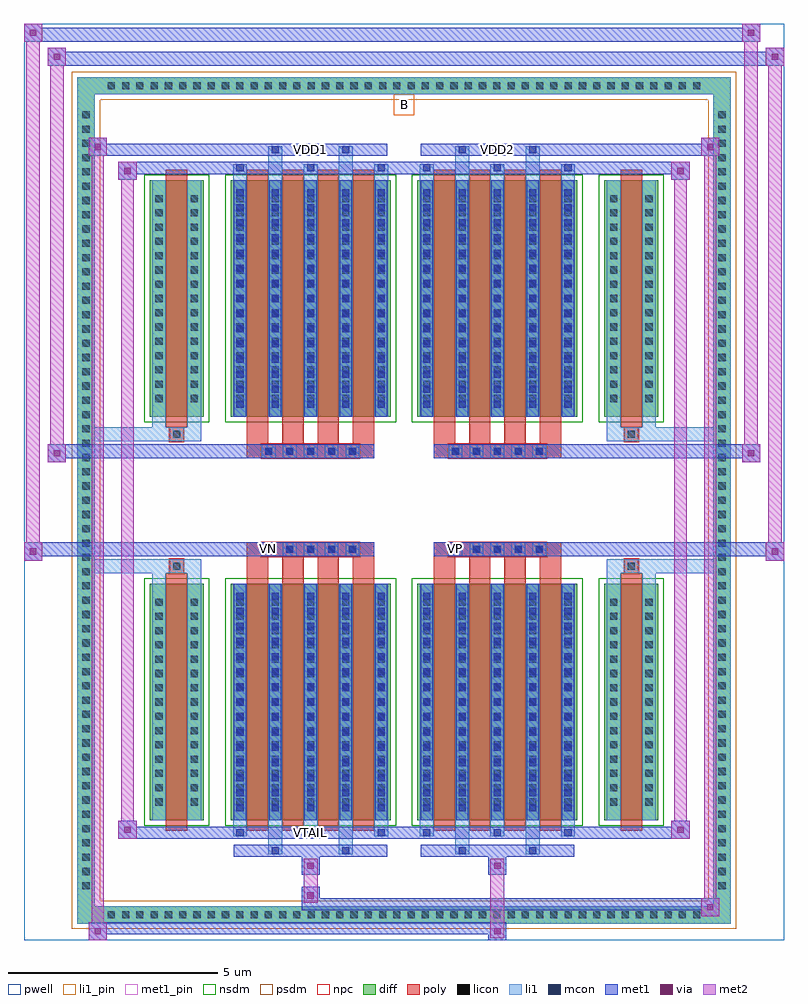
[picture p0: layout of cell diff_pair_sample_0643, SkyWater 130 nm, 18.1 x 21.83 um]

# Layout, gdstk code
import gdstk
lib = gdstk.Library(unit=1e-6, precision=5e-09)
def R(c, l, rs):  # rectangles x0, y0, x1, y1
    for r in rs: c.add(gdstk.rectangle(r[:2], r[2:], *l))
def A(c, l, x, y, w, h, nx, ny, dx, dy):  # array of equal rectangles
    R(c, l, [(x+i*dx, y+j*dy, x+i*dx+w, y+j*dy+h) for i in range(nx) for j in range(ny)])
def P(c, l, *ps):  # polygons
    for p in ps: c.add(gdstk.Polygon(p, *l))
pwell = (64, 44)
diff = (65, 20)
poly = (66, 20)
licon = (66, 44)
li1_pin = (67, 16)
li1 = (67, 20)
mcon = (67, 44)
met1_pin = (68, 16)
met1 = (68, 20)
via = (68, 44)
met2 = (69, 20)
nsdm = (93, 44)
psdm = (94, 20)
npc = (95, 20)

diff_pair_sample_0643 = lib.new_cell('diff_pair_sample_0643')
R(diff_pair_sample_0643, pwell, [(-9.05,-10.48,9.05,11.35), (-6.37,-8.67,-0.01,-0.805), (0.01,-8.67,6.37,-0.805), (-6.37,0.805,-0.01,8.67), (0.01,0.805,6.37,8.67)])
A(diff_pair_sample_0643, diff, -7.175, -10.08, 0.41, 0.41, 42, 2, 0.34, 19.75)
A(diff_pair_sample_0643, diff, -7.78, -9.385, 0.41, 0.41, 1, 55, 0, 0.34)
A(diff_pair_sample_0643, diff, 7.37, -9.385, 0.41, 0.41, 1, 55, 0, 0.34)
R(diff_pair_sample_0643, diff, [(-7.175,-10.08,7.175,-9.67), (-7.78,-9.385,-7.37,9.385), (7.37,-9.385,7.78,9.385), (-6.06,-7.625,-4.77,-1.985), (-4.13,-7.625,-0.32,-1.985), (0.32,-7.625,4.13,-1.985), (4.77,-7.625,6.06,-1.985), (-6.06,1.985,-4.77,7.625), (-4.13,1.985,-0.32,7.625), (0.32,1.985,4.13,7.625), (4.77,1.985,6.06,7.625), (-7.175,9.67,7.175,10.08)])
P(diff_pair_sample_0643, diff, [(7.78,10.08),(-7.78,10.08),(-7.78,-9.67),(-7.37,-9.67),(-7.37,9.67),(7.37,9.67),(7.37,-9.67),(-7.37,-9.67),(-7.78,-9.67),(-7.78,-10.08),(7.78,-10.08)])
A(diff_pair_sample_0643, poly, -3.74, -7.875, 0.51, 6.14, 4, 2, 0.84, 9.61)
A(diff_pair_sample_0643, poly, 0.71, -7.875, 0.51, 6.14, 4, 2, 0.84, 9.61)
A(diff_pair_sample_0643, poly, -3.74, -1.735, 0.51, 0.4, 4, 2, 0.84, 3.07)
A(diff_pair_sample_0643, poly, 0.71, -1.735, 0.51, 0.4, 4, 2, 0.84, 3.07)
A(diff_pair_sample_0643, poly, -3.39, -1.335, 0.33, 0.33, 5, 2, 0.5, 2.34)
A(diff_pair_sample_0643, poly, 1.06, -1.335, 0.33, 0.33, 5, 2, 0.5, 2.34)
R(diff_pair_sample_0643, poly, [(-5.67,-7.875,-5.16,-1.735), (5.16,-7.875,5.67,-1.735), (-5.58,-1.735,-5.25,-1.405), (-5.58,-1.735,-5.25,-1.405), (5.25,-1.735,5.58,-1.405), (5.25,-1.735,5.58,-1.405), (-3.74,-1.335,-0.71,-1.005), (0.71,-1.335,3.74,-1.005), (-3.74,1.005,-0.71,1.335), (0.71,1.005,3.74,1.335), (-5.58,1.405,-5.25,1.735), (-5.58,1.405,-5.25,1.735), (5.25,1.405,5.58,1.735), (5.25,1.405,5.58,1.735), (-5.67,1.735,-5.16,7.875), (5.16,1.735,5.67,7.875)])
A(diff_pair_sample_0643, licon, -7.055, -9.96, 0.17, 0.17, 42, 2, 0.34, 19.75)
A(diff_pair_sample_0643, licon, -7.66, -9.265, 0.17, 0.17, 1, 55, 0, 0.34)
A(diff_pair_sample_0643, licon, 7.49, -9.265, 0.17, 0.17, 1, 55, 0, 0.34)
A(diff_pair_sample_0643, licon, -5.92, -7.27, 0.17, 0.17, 1, 15, 0, 0.34)
A(diff_pair_sample_0643, licon, -5.08, -7.27, 0.17, 0.17, 1, 15, 0, 0.34)
A(diff_pair_sample_0643, licon, -3.99, -7.27, 0.17, 0.17, 5, 15, 0.84, 0.34)
A(diff_pair_sample_0643, licon, 0.46, -7.27, 0.17, 0.17, 5, 15, 0.84, 0.34)
A(diff_pair_sample_0643, licon, 4.91, -7.27, 0.17, 0.17, 1, 15, 0, 0.34)
A(diff_pair_sample_0643, licon, 5.75, -7.27, 0.17, 0.17, 1, 15, 0, 0.34)
A(diff_pair_sample_0643, licon, -3.31, -1.255, 0.17, 0.17, 5, 2, 0.5, 2.34)
A(diff_pair_sample_0643, licon, 1.14, -1.255, 0.17, 0.17, 5, 2, 0.5, 2.34)
A(diff_pair_sample_0643, licon, -5.92, 2.34, 0.17, 0.17, 1, 15, 0, 0.34)
A(diff_pair_sample_0643, licon, -5.08, 2.34, 0.17, 0.17, 1, 15, 0, 0.34)
A(diff_pair_sample_0643, licon, -3.99, 2.34, 0.17, 0.17, 5, 15, 0.84, 0.34)
A(diff_pair_sample_0643, licon, 0.46, 2.34, 0.17, 0.17, 5, 15, 0.84, 0.34)
A(diff_pair_sample_0643, licon, 4.91, 2.34, 0.17, 0.17, 1, 15, 0, 0.34)
A(diff_pair_sample_0643, licon, 5.75, 2.34, 0.17, 0.17, 1, 15, 0, 0.34)
R(diff_pair_sample_0643, licon, [(-5.5,-1.655,-5.33,-1.485), (5.33,-1.655,5.5,-1.485), (-5.5,1.485,-5.33,1.655), (5.33,1.485,5.5,1.655)])
R(diff_pair_sample_0643, li1_pin, [(-0.25,9.17,0.25,9.67)])
A(diff_pair_sample_0643, li1, -7.135, -10.04, 0.33, 0.33, 42, 2, 0.34, 19.75)
A(diff_pair_sample_0643, li1, -7.74, -9.345, 0.33, 0.33, 1, 55, 0, 0.34)
A(diff_pair_sample_0643, li1, 7.41, -9.345, 0.33, 0.33, 1, 55, 0, 0.34)
A(diff_pair_sample_0643, li1, -4.07, -8, 0.33, 0.375, 3, 2, 1.68, 15.625)
A(diff_pair_sample_0643, li1, -3.99, -8, 0.17, 0.17, 3, 2, 1.68, 15.83)
A(diff_pair_sample_0643, li1, 0.38, -8, 0.33, 0.375, 3, 2, 1.68, 15.625)
A(diff_pair_sample_0643, li1, 0.46, -8, 0.17, 0.17, 3, 2, 1.68, 15.83)
A(diff_pair_sample_0643, li1, -4.07, -7.625, 0.33, 5.64, 5, 2, 0.84, 9.61)
A(diff_pair_sample_0643, li1, 0.38, -7.625, 0.33, 5.64, 5, 2, 0.84, 9.61)
A(diff_pair_sample_0643, li1, -3.99, -7.41, 0.17, 0.17, 5, 15, 0.84, 0.36)
A(diff_pair_sample_0643, li1, -3.99, -7.41, 0.17, 5.21, 5, 2, 0.84, 9.61)
A(diff_pair_sample_0643, li1, 0.46, -7.41, 0.17, 0.17, 5, 15, 0.84, 0.36)
A(diff_pair_sample_0643, li1, 0.46, -7.41, 0.17, 5.21, 5, 2, 0.84, 9.61)
A(diff_pair_sample_0643, li1, -6, -7.35, 0.33, 0.33, 1, 15, 0, 0.34)
A(diff_pair_sample_0643, li1, -5.16, -7.35, 0.33, 0.33, 1, 15, 0, 0.34)
A(diff_pair_sample_0643, li1, -4.07, -7.35, 0.33, 0.33, 5, 15, 0.84, 0.34)
A(diff_pair_sample_0643, li1, 0.38, -7.35, 0.33, 0.33, 5, 15, 0.84, 0.34)
A(diff_pair_sample_0643, li1, 4.83, -7.35, 0.33, 0.33, 1, 15, 0, 0.34)
A(diff_pair_sample_0643, li1, 5.67, -7.35, 0.33, 0.33, 1, 15, 0, 0.34)
A(diff_pair_sample_0643, li1, -3.39, -1.335, 0.33, 0.33, 5, 2, 0.5, 2.34)
A(diff_pair_sample_0643, li1, 1.06, -1.335, 0.33, 0.33, 5, 2, 0.5, 2.34)
A(diff_pair_sample_0643, li1, -3.99, 2.2, 0.17, 0.17, 5, 15, 0.84, 0.36)
A(diff_pair_sample_0643, li1, 0.46, 2.2, 0.17, 0.17, 5, 15, 0.84, 0.36)
A(diff_pair_sample_0643, li1, -6, 2.26, 0.33, 0.33, 1, 15, 0, 0.34)
A(diff_pair_sample_0643, li1, -5.16, 2.26, 0.33, 0.33, 1, 15, 0, 0.34)
A(diff_pair_sample_0643, li1, -4.07, 2.26, 0.33, 0.33, 5, 15, 0.84, 0.34)
A(diff_pair_sample_0643, li1, 0.38, 2.26, 0.33, 0.33, 5, 15, 0.84, 0.34)
A(diff_pair_sample_0643, li1, 4.83, 2.26, 0.33, 0.33, 1, 15, 0, 0.34)
A(diff_pair_sample_0643, li1, 5.67, 2.26, 0.33, 0.33, 1, 15, 0, 0.34)
R(diff_pair_sample_0643, li1, [(-7.78,-10.08,-7.37,-9.67), (-7.78,-10.08,-7.37,-9.67), (-7.37,-10.08,7.37,-9.67), (7.37,-10.08,7.78,-9.67), (7.37,-10.08,7.78,-9.67), (-7.78,-9.67,-7.37,9.67), (7.37,-9.67,7.78,9.67), (-3.23,-8.43,-2.9,-7.625), (-3.15,-8.43,-2.98,-8.26), (-1.55,-8.43,-1.22,-7.625), (-1.47,-8.43,-1.3,-8.26), (1.22,-8.43,1.55,-7.625), (1.3,-8.43,1.47,-8.26), (2.9,-8.43,3.23,-7.625), (2.98,-8.43,3.15,-8.26), (-6,-7.625,-5.67,-1.985), (-5.16,-7.625,-4.83,-1.985), (4.83,-7.625,5.16,-1.985), (5.67,-7.625,6,-1.985), (-6,-1.985,-5.67,-1.405), (-5.16,-1.985,-4.83,-1.405), (4.83,-1.985,5.16,-1.405), (5.67,-1.985,6,-1.405), (-7.78,-1.735,-5.58,-1.405), (-6,-1.735,-5.58,-1.405), (-5.58,-1.735,-5.25,-1.405), (-5.25,-1.735,-4.83,-1.405), (4.83,-1.735,5.25,-1.405), (5.25,-1.735,5.58,-1.405), (5.25,-1.735,7.78,-1.405), (5.58,-1.735,6,-1.405), (-7.78,1.405,-5.58,1.735), (-6,1.405,-5.58,1.735), (-6,1.405,-5.67,1.985), (-5.58,1.405,-5.25,1.735), (-5.25,1.405,-4.83,1.735), (-5.16,1.405,-4.83,1.985), (4.83,1.405,5.25,1.735), (4.83,1.405,5.16,1.985), (5.25,1.405,5.58,1.735), (5.25,1.405,7.78,1.735), (5.58,1.405,6,1.735), (5.67,1.405,6,1.985), (-6,1.985,-5.67,7.625), (-5.16,1.985,-4.83,7.625), (4.83,1.985,5.16,7.625), (5.67,1.985,6,7.625), (-3.23,7.625,-2.9,8.43), (-1.55,7.625,-1.22,8.43), (1.22,7.625,1.55,8.43), (2.9,7.625,3.23,8.43), (-3.15,8.26,-2.98,8.43), (-1.47,8.26,-1.3,8.43), (1.3,8.26,1.47,8.43), (2.98,8.26,3.15,8.43), (-7.78,9.67,-7.37,10.08), (-7.78,9.67,-7.37,10.08), (-7.37,9.67,7.37,10.08), (7.37,9.67,7.78,10.08), (7.37,9.67,7.78,10.08)])
A(diff_pair_sample_0643, mcon, -3.99, -8, 0.17, 0.17, 3, 2, 1.68, 15.83)
A(diff_pair_sample_0643, mcon, 0.46, -8, 0.17, 0.17, 3, 2, 1.68, 15.83)
A(diff_pair_sample_0643, mcon, -3.99, -7.41, 0.17, 0.17, 5, 15, 0.84, 0.36)
A(diff_pair_sample_0643, mcon, 0.46, -7.41, 0.17, 0.17, 5, 15, 0.84, 0.36)
A(diff_pair_sample_0643, mcon, -3.31, -1.255, 0.17, 0.17, 5, 2, 0.5, 2.34)
A(diff_pair_sample_0643, mcon, 1.14, -1.255, 0.17, 0.17, 5, 2, 0.5, 2.34)
A(diff_pair_sample_0643, mcon, -3.99, 2.2, 0.17, 0.17, 5, 15, 0.84, 0.36)
A(diff_pair_sample_0643, mcon, 0.46, 2.2, 0.17, 0.17, 5, 15, 0.84, 0.36)
R(diff_pair_sample_0643, mcon, [(-3.15,-8.43,-2.98,-8.26), (-1.47,-8.43,-1.3,-8.26), (1.3,-8.43,1.47,-8.26), (2.98,-8.43,3.15,-8.26), (-3.15,8.26,-2.98,8.43), (-1.47,8.26,-1.3,8.43), (1.3,8.26,1.47,8.43), (2.98,8.26,3.15,8.43)])
R(diff_pair_sample_0643, met1_pin, [(-2.36,-8.04,-2.09,-7.77), (-3.36,-1.295,-3.09,-1.025), (1.09,-1.295,1.36,-1.025), (-2.36,8.22,-2.09,8.49), (2.09,8.22,2.36,8.49)])
A(diff_pair_sample_0643, met1, -4.05, -8.06, 0.29, 0.29, 3, 2, 1.68, 15.83)
A(diff_pair_sample_0643, met1, 0.4, -8.06, 0.29, 0.29, 3, 2, 1.68, 15.83)
A(diff_pair_sample_0643, met1, -4.05, -7.625, 0.29, 5.64, 5, 2, 0.84, 9.61)
A(diff_pair_sample_0643, met1, 0.4, -7.625, 0.29, 5.64, 5, 2, 0.84, 9.61)
A(diff_pair_sample_0643, met1, -4.05, -7.47, 0.29, 0.29, 5, 15, 0.84, 0.36)
A(diff_pair_sample_0643, met1, 0.4, -7.47, 0.29, 0.29, 5, 15, 0.84, 0.36)
A(diff_pair_sample_0643, met1, -3.37, -1.315, 0.29, 0.29, 5, 2, 0.5, 2.34)
A(diff_pair_sample_0643, met1, 1.08, -1.315, 0.29, 0.29, 5, 2, 0.5, 2.34)
A(diff_pair_sample_0643, met1, -4.05, 2.14, 0.29, 0.29, 5, 15, 0.84, 0.36)
A(diff_pair_sample_0643, met1, 0.4, 2.14, 0.29, 0.29, 5, 15, 0.84, 0.36)
R(diff_pair_sample_0643, met1, [(-7.51,-10.48,-7.08,-10.05), (2.01,-10.48,2.44,-10.05), (-7.51,-10.34,2.44,-10.05), (7.08,-9.91,7.51,-9.48), (-2.44,-9.77,7.51,-9.48), (-2.44,-9.63,-2.01,-9.2), (-2.44,-8.92,-2.01,-8.49), (2.01,-8.92,2.44,-8.49), (-4.05,-8.49,-0.4,-8.2), (-3.21,-8.49,-2.92,-8.2), (-1.53,-8.49,-1.24,-8.2), (0.4,-8.49,4.05,-8.2), (1.24,-8.49,1.53,-8.2), (2.92,-8.49,3.21,-8.2), (-6.8,-8.06,-6.37,-7.63), (-6.8,-8.06,-4.05,-7.77), (-4.05,-8.06,-0.4,-7.77), (-0.4,-8.06,0.4,-7.77), (0.4,-8.06,4.05,-7.77), (4.05,-8.06,6.8,-7.77), (6.37,-8.06,6.8,-7.63), (-9.05,-1.435,-8.62,-1.005), (8.62,-1.435,9.05,-1.005), (-9.05,-1.335,-0.71,-1.005), (-3.74,-1.335,-0.71,-1.005), (0.71,-1.335,3.74,-1.005), (0.71,-1.335,9.05,-1.005), (-8.48,0.905,-8.05,1.335), (8.05,0.905,8.48,1.335), (-8.48,1.005,-3.74,1.335), (-3.74,1.005,-0.71,1.335), (0.71,1.005,3.74,1.335), (3.74,1.005,8.48,1.335), (-6.8,7.63,-6.37,8.06), (6.37,7.63,6.8,8.06), (-6.8,7.77,-4.05,8.06), (-4.05,7.77,-0.4,8.06), (-0.4,7.77,0.4,8.06), (0.4,7.77,4.05,8.06), (4.05,7.77,6.8,8.06), (-7.51,8.2,-7.08,8.63), (-7.51,8.2,-4.05,8.49), (-4.05,8.2,-0.4,8.49), (-3.21,8.2,-2.92,8.49), (-1.53,8.2,-1.24,8.49), (0.4,8.2,4.05,8.49), (1.24,8.2,1.53,8.49), (2.92,8.2,3.21,8.49), (4.05,8.2,7.51,8.49), (7.08,8.2,7.51,8.63), (-8.48,10.35,-8.05,10.78), (-8.48,10.35,-6.37,10.68), (-6.37,10.35,6.37,10.68), (6.37,10.35,9.05,10.68), (8.62,10.35,9.05,10.78), (-9.05,10.92,-8.62,11.35), (-9.05,10.92,-6.37,11.25), (-6.37,10.92,6.37,11.25), (6.37,10.92,8.48,11.25), (8.05,10.92,8.48,11.35)])
R(diff_pair_sample_0643, via, [(-7.37,-10.34,-7.22,-10.19), (2.15,-10.34,2.3,-10.19), (7.22,-9.77,7.37,-9.62), (-2.3,-9.49,-2.15,-9.34), (-2.3,-8.78,-2.15,-8.63), (2.15,-8.78,2.3,-8.63), (-6.66,-7.92,-6.51,-7.77), (6.51,-7.92,6.66,-7.77), (-8.91,-1.295,-8.76,-1.145), (8.76,-1.295,8.91,-1.145), (-8.34,1.045,-8.19,1.195), (8.19,1.045,8.34,1.195), (-6.66,7.77,-6.51,7.92), (6.51,7.77,6.66,7.92), (-7.37,8.34,-7.22,8.49), (7.22,8.34,7.37,8.49), (-8.34,10.49,-8.19,10.64), (8.76,10.49,8.91,10.64), (-8.91,11.06,-8.76,11.21), (8.19,11.06,8.34,11.21)])
R(diff_pair_sample_0643, met2, [(-7.51,-10.48,-7.08,-10.05), (-7.44,-10.48,-7.15,8.63), (-7.15,-10.48,-7.08,-10.05), (-7.46,-10.43,-7.13,-10.1), (2.06,-10.43,2.39,-10.1), (2.06,-10.1,2.39,-8.87), (7.08,-9.91,7.51,-9.48), (7.15,-9.91,7.44,8.63), (7.44,-9.91,7.51,-9.48), (7.13,-9.86,7.46,-9.53), (-2.39,-9.58,-2.06,-9.25), (-2.39,-9.25,-2.06,-8.87), (-2.39,-8.87,-2.06,-8.54), (2.06,-8.87,2.39,-8.54), (-6.8,-8.06,-6.37,-7.63), (-6.73,-8.06,-6.44,8.06), (-6.44,-8.06,-6.37,-7.63), (6.37,-8.06,6.8,-7.63), (6.44,-8.06,6.73,8.06), (6.73,-8.06,6.8,-7.63), (-6.75,-8.01,-6.42,-7.68), (6.42,-8.01,6.75,-7.68), (-9.05,-1.435,-8.62,-1.005), (-9,-1.435,-8.67,11.35), (-8.67,-1.435,-8.62,-1.005), (8.62,-1.435,9.05,-1.005), (8.67,-1.435,9,10.78), (9,-1.435,9.05,-1.005), (-9,-1.385,-8.67,-1.055), (8.67,-1.385,9,-1.055), (-8.48,0.905,-8.05,1.335), (-8.43,0.905,-8.1,10.78), (-8.1,0.905,-8.05,1.335), (8.05,0.905,8.48,1.335), (8.1,0.905,8.43,11.35), (8.43,0.905,8.48,1.335), (-8.43,0.955,-8.1,1.285), (8.1,0.955,8.43,1.285), (-6.8,7.63,-6.37,8.06), (-6.44,7.63,-6.37,8.06), (6.37,7.63,6.8,8.06), (6.73,7.63,6.8,8.06), (-6.75,7.68,-6.42,8.01), (6.42,7.68,6.75,8.01), (-7.51,8.2,-7.08,8.63), (-7.15,8.2,-7.08,8.63), (7.08,8.2,7.51,8.63), (7.44,8.2,7.51,8.63), (-7.46,8.25,-7.13,8.58), (7.13,8.25,7.46,8.58), (-8.48,10.35,-8.05,10.78), (-8.1,10.35,-8.05,10.78), (8.62,10.35,9.05,10.78), (9,10.35,9.05,10.78), (-8.43,10.4,-8.1,10.73), (8.67,10.4,9,10.73), (-9.05,10.92,-8.62,11.35), (-8.67,10.92,-8.62,11.35), (8.05,10.92,8.48,11.35), (8.43,10.92,8.48,11.35), (-9,10.97,-8.67,11.3), (8.1,10.97,8.43,11.3)])
R(diff_pair_sample_0643, nsdm, [(-6.19,-7.755,-4.64,-1.855), (-4.26,-7.755,-0.19,-1.855), (0.19,-7.755,4.26,-1.855), (4.64,-7.755,6.19,-1.855), (-6.19,1.855,-4.64,7.755), (-4.26,1.855,-0.19,7.755), (0.19,1.855,4.26,7.755), (4.64,1.855,6.19,7.755)])
P(diff_pair_sample_0643, psdm, [(7.91,10.21),(-7.91,10.21),(-7.91,-9.54),(-7.24,-9.54),(-7.24,9.54),(7.24,9.54),(7.24,-9.54),(-7.24,-9.54),(-7.91,-9.54),(-7.91,-10.21),(7.91,-10.21)])
A(diff_pair_sample_0643, npc, -3.41, -1.355, 0.37, 0.37, 5, 2, 0.5, 2.34)
A(diff_pair_sample_0643, npc, 1.04, -1.355, 0.37, 0.37, 5, 2, 0.5, 2.34)
R(diff_pair_sample_0643, npc, [(-5.6,-1.755,-5.23,-1.385), (5.23,-1.755,5.6,-1.385), (-3.41,-1.355,-2.54,-0.985), (-3.41,-1.355,-2.54,-0.985), (-2.91,-1.355,-2.04,-0.985), (-2.91,-1.355,-2.04,-0.985), (-2.41,-1.355,-1.54,-0.985), (-2.41,-1.355,-1.54,-0.985), (-1.91,-1.355,-1.04,-0.985), (-1.91,-1.355,-1.04,-0.985), (1.04,-1.355,1.91,-0.985), (1.04,-1.355,1.91,-0.985), (1.54,-1.355,2.41,-0.985), (1.54,-1.355,2.41,-0.985), (2.04,-1.355,2.91,-0.985), (2.04,-1.355,2.91,-0.985), (2.54,-1.355,3.41,-0.985), (2.54,-1.355,3.41,-0.985), (-3.41,0.985,-2.54,1.355), (-3.41,0.985,-2.54,1.355), (-2.91,0.985,-2.04,1.355), (-2.91,0.985,-2.04,1.355), (-2.41,0.985,-1.54,1.355), (-2.41,0.985,-1.54,1.355), (-1.91,0.985,-1.04,1.355), (-1.91,0.985,-1.04,1.355), (1.04,0.985,1.91,1.355), (1.04,0.985,1.91,1.355), (1.54,0.985,2.41,1.355), (1.54,0.985,2.41,1.355), (2.04,0.985,2.91,1.355), (2.04,0.985,2.91,1.355), (2.54,0.985,3.41,1.355), (2.54,0.985,3.41,1.355), (-5.6,1.385,-5.23,1.755), (5.23,1.385,5.6,1.755)])
diff_pair_sample_0643.add(gdstk.Label('VTAIL', (-2.225,-7.905), layer=68, texttype=5))
diff_pair_sample_0643.add(gdstk.Label('VN', (-3.225,-1.16), layer=68, texttype=5))
diff_pair_sample_0643.add(gdstk.Label('VP', (1.225,-1.16), layer=68, texttype=5))
diff_pair_sample_0643.add(gdstk.Label('B', (0,9.42), layer=67, texttype=5))
diff_pair_sample_0643.add(gdstk.Label('VDD2', (2.225,8.355), layer=68, texttype=5))
diff_pair_sample_0643.add(gdstk.Label('VDD1', (-2.225,8.355), layer=68, texttype=5))

lib.write_gds('diff_pair_sample_0643.gds')
